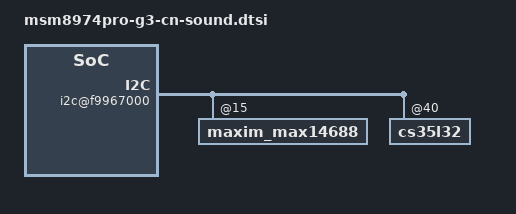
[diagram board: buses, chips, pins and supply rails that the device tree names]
/* Copyright (c) 2012, Code Aurora Forum. All rights reserved.
 *
 * This program is free software; you can redistribute it and/or modify
 * it under the terms of the GNU General Public License version 2 and
 * only version 2 as published by the Free Software Foundation.
 *
 * This program is distributed in the hope that it will be useful,
 * but WITHOUT ANY WARRANTY; without even the implied warranty of
 * MERCHANTABILITY or FITNESS FOR A PARTICULAR PURPOSE.  See the
 * GNU General Public License for more details.
 */

&soc {
	i2c@f9967000 {
		maxim_max14688@15 {
			status = "ok";
			revision = "evb1...";
		};
		cs35l32@40 {
			status = "ok";
			revision = "evb1...";
		};
	};

	qcom,msm-dai-q6 {
		compatible = "qcom,msm-dai-q6";

		qcom,msm-dai-q6-incall-music-2-rx {
            compatible = "qcom,msm-dai-q6-dev";
            qcom,msm-dai-q6-dev-id = <32770>;
		};
	};
};
